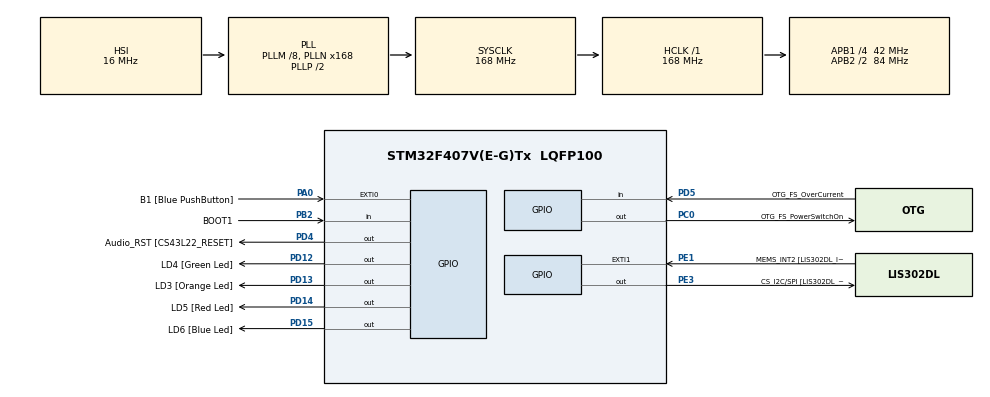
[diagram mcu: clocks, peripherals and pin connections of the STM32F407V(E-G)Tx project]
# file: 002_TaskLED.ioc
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Mcu.Family=STM32F4
Mcu.Name=STM32F407V(E-G)Tx
Mcu.Package=LQFP100
NVIC.PriorityGroup=NVIC_PRIORITYGROUP_4
NVIC.TIM6_DAC_IRQn=true\:0\:0\:false\:false\:true\:false\:true\:true
NVIC.TimeBase=TIM6_DAC_IRQn
NVIC.TimeBaseIP=TIM6
PA0-WKUP.GPIO_Label=B1 [Blue PushButton]
PA0-WKUP.Signal=GPXTI0
PA10.GPIO_Label=OTG_FS_ID
PA10.GPIO_Mode=GPIO_MODE_AF_PP
PA10.GPIO_PuPd=GPIO_NOPULL
PA10.GPIO_Speed=GPIO_SPEED_FREQ_LOW
PA10.Signal=USB_OTG_FS_ID
PA11.GPIO_Label=OTG_FS_DM
PA11.GPIO_Mode=GPIO_MODE_AF_PP
PA11.GPIO_PuPd=GPIO_NOPULL
PA11.GPIO_Speed=GPIO_SPEED_FREQ_LOW
PA11.Signal=USB_OTG_FS_DM
PA12.GPIO_Label=OTG_FS_DP
PA12.GPIO_Mode=GPIO_MODE_AF_PP
PA12.GPIO_PuPd=GPIO_NOPULL
PA12.GPIO_Speed=GPIO_SPEED_FREQ_LOW
PA12.Signal=USB_OTG_FS_DP
PA13.GPIO_Label=SWDIO
PA13.Mode=Serial_Wire
PA13.Signal=SYS_JTMS-SWDIO
PA14.GPIO_Label=SWCLK
PA14.Mode=Serial_Wire
PA14.Signal=SYS_JTCK-SWCLK
PA4.GPIO_Label=I2S3_WS [CS43L22_LRCK]
PA4.GPIO_Mode=GPIO_MODE_AF_PP
PA4.GPIO_PuPd=GPIO_NOPULL
PA4.GPIO_Speed=GPIO_SPEED_FREQ_LOW
PA4.Signal=I2S3_WS
PA5.GPIO_Label=SPI1_SCK [LIS302DL_SCL/SPC]
PA5.GPIO_Mode=GPIO_MODE_AF_PP
PA5.GPIO_PuPd=GPIO_NOPULL
PA5.GPIO_Speed=GPIO_SPEED_FREQ_LOW
PA5.Signal=SPI1_SCK
PA6.GPIO_Label=SPI1_MISO [LIS302DL_SDO]
PA6.GPIO_Mode=GPIO_MODE_AF_PP
PA6.GPIO_PuPd=GPIO_NOPULL
PA6.GPIO_Speed=GPIO_SPEED_FREQ_LOW
PA6.Signal=SPI1_MISO
PA7.GPIO_Label=SPI1_MOSI [LIS302DL_SDA/SDI/SDO]
PA7.GPIO_Mode=GPIO_MODE_AF_PP
PA7.GPIO_PuPd=GPIO_NOPULL
PA7.GPIO_Speed=GPIO_SPEED_FREQ_LOW
PA7.Signal=SPI1_MOSI
PA9.GPIO_Label=VBUS_FS
PA9.GPIO_Mode=GPIO_MODE_INPUT
PA9.GPIO_PuPd=GPIO_NOPULL
PA9.Signal=USB_OTG_FS_VBUS
PB10.GPIO_Label=CLK_IN [MP45DT02_CLK]
PB10.GPIO_Mode=GPIO_MODE_AF_PP
PB10.GPIO_PuPd=GPIO_NOPULL
PB10.GPIO_Speed=GPIO_SPEED_FREQ_LOW
PB10.Signal=I2S2_CK
PB2.GPIO_Label=BOOT1
PB2.GPIO_Mode=GPIO_MODE_INPUT
PB2.GPIO_PuPd=GPIO_NOPULL
PB2.Signal=GPIO_Input
PB3.GPIO_Label=SWO
PB3.Signal=SYS_JTDO-SWO
PB6.GPIO_Label=Audio_SCL [CS43L22_SCL]
PB6.GPIO_Mode=GPIO_MODE_AF_OD
PB6.GPIO_PuPd=GPIO_NOPULL
PB6.GPIO_Speed=GPIO_SPEED_FREQ_LOW
PB6.Signal=I2C1_SCL
PB9.GPIO_Label=Audio_SDA [CS43L22_SDA]
PB9.GPIO_Mode=GPIO_MODE_AF_OD
PB9.GPIO_PuPd=GPIO_NOPULL
PB9.GPIO_Speed=GPIO_SPEED_FREQ_LOW
PB9.Signal=I2C1_SDA
PC0.GPIO_Label=OTG_FS_PowerSwitchOn
PC0.GPIO_PuPd=GPIO_NOPULL
PC0.GPIO_Speed=GPIO_SPEED_FREQ_LOW
PC0.PinState=GPIO_PIN_SET
PC0.Signal=GPIO_Output
PC10.GPIO_Label=I2S3_SCK [CS43L22_SCLK]
PC10.GPIO_Mode=GPIO_MODE_AF_PP
PC10.GPIO_PuPd=GPIO_NOPULL
PC10.GPIO_Speed=GPIO_SPEED_FREQ_LOW
PC10.Signal=I2S3_CK
PC12.GPIO_Label=I2S3_SD [CS43L22_SDIN]
PC12.GPIO_Mode=GPIO_MODE_AF_PP
PC12.GPIO_PuPd=GPIO_NOPULL
PC12.GPIO_Speed=GPIO_SPEED_FREQ_LOW
PC12.Signal=I2S3_SD
PC14-OSC32_IN.GPIO_Label=PC14-OSC32_IN
PC14-OSC32_IN.Signal=RCC_OSC32_IN
PC15-OSC32_OUT.GPIO_Label=PC15-OSC32_OUT
PC15-OSC32_OUT.Signal=RCC_OSC32_OUT
PC3.GPIO_Label=PDM_OUT [MP45DT02_DOUT]
PC3.GPIO_Mode=GPIO_MODE_AF_PP
PC3.GPIO_PuPd=GPIO_NOPULL
PC3.GPIO_Speed=GPIO_SPEED_FREQ_LOW
PC3.Signal=I2S2_SD
PC7.GPIO_Label=I2S3_MCK [CS43L22_MCLK]
PC7.GPIO_Mode=GPIO_MODE_AF_PP
PC7.GPIO_PuPd=GPIO_NOPULL
PC7.GPIO_Speed=GPIO_SPEED_FREQ_LOW
PC7.Signal=I2S3_MCK
PD12.GPIO_Label=LD4 [Green Led]
PD12.GPIO_PuPd=GPIO_NOPULL
PD12.GPIO_Speed=GPIO_SPEED_FREQ_LOW
PD12.Signal=GPIO_Output
PD13.GPIO_Label=LD3 [Orange Led]
PD13.GPIO_PuPd=GPIO_NOPULL
PD13.GPIO_Speed=GPIO_SPEED_FREQ_LOW
PD13.Signal=GPIO_Output
PD14.GPIO_Label=LD5 [Red Led]
PD14.GPIO_PuPd=GPIO_NOPULL
PD14.GPIO_Speed=GPIO_SPEED_FREQ_LOW
PD14.Signal=GPIO_Output
PD15.GPIO_Label=LD6 [Blue Led]
PD15.GPIO_PuPd=GPIO_NOPULL
PD15.GPIO_Speed=GPIO_SPEED_FREQ_LOW
PD15.Signal=GPIO_Output
PD4.GPIO_Label=Audio_RST [CS43L22_RESET]
PD4.GPIO_PuPd=GPIO_NOPULL
PD4.GPIO_Speed=GPIO_SPEED_FREQ_LOW
PD4.Signal=GPIO_Output
PD5.GPIO_Label=OTG_FS_OverCurrent
PD5.GPIO_Mode=GPIO_MODE_INPUT
PD5.GPIO_PuPd=GPIO_NOPULL
PD5.Signal=GPIO_Input
PE1.GPIO_Label=MEMS_INT2 [LIS302DL_INT2]
PE1.GPIO_ModeDefaultEXTI=GPIO_MODE_EVT_RISING
PE1.GPIO_PuPd=GPIO_NOPULL
PE1.Signal=GPXTI1
PE3.GPIO_Label=CS_I2C/SPI [LIS302DL_CS_I2C/SPI]
PE3.GPIO_PuPd=GPIO_NOPULL
PE3.GPIO_Speed=GPIO_SPEED_FREQ_LOW
PE3.Signal=GPIO_Output
PH0-OSC_IN.GPIO_Label=PH0-OSC_IN
PH0-OSC_IN.Signal=RCC_OSC_IN
PH1-OSC_OUT.GPIO_Label=PH1-OSC_OUT
PH1-OSC_OUT.Signal=RCC_OSC_OUT
ProjectManager.HeapSize=0x200
ProjectManager.StackSize=0x400
ProjectManager.TargetToolchain=STM32CubeIDE
RCC.48MHZClocksFreq_Value=48000000
RCC.AHBFreq_Value=168000000
RCC.APB1CLKDivider=RCC_HCLK_DIV4
RCC.APB1Freq_Value=42000000
RCC.APB1TimFreq_Value=84000000
RCC.APB2CLKDivider=RCC_HCLK_DIV2
RCC.APB2Freq_Value=84000000
RCC.APB2TimFreq_Value=168000000
RCC.CortexFreq_Value=168000000
RCC.HCLKFreq_Value=168000000
RCC.HSE_VALUE=8000000
RCC.HSI_VALUE=16000000
RCC.LSE_VALUE=32768
RCC.PLLM=8
RCC.PLLN=168
RCC.PLLQ=7
RCC.SYSCLKFreq_VALUE=168000000
RCC.SYSCLKSource=RCC_SYSCLKSOURCE_PLLCLK
RCC.VCOOutputFreq_Value=336000000
VP_SYS_VS_tim6.Mode=TIM6
board=STM32F407G-DISC1

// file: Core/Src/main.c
/* USER CODE BEGIN Header */
/**
  ******************************************************************************
  * @file           : main.c
  * @brief          : Main program body
  ******************************************************************************
  * @attention
  *
  * <h2><center>&copy; Copyright (c) 2021 STMicroelectronics.
  * All rights reserved.</center></h2>
  *
  * This software component is licensed by ST under BSD 3-Clause license,
  * the "License"; You may not use this file except in compliance with the
  * License. You may obtain a copy of the License at:
  *                        opensource.org/licenses/BSD-3-Clause
  *
  ******************************************************************************
  */
/* USER CODE END Header */
#include "main.h"

/* USER CODE BEGIN Includes */

#include <stdio.h>
#include "FreeRTOS.h"
#include "task.h"

/* USER CODE END Includes */

/* USER CODE BEGIN PV */

#define DWT_CTRL    (*(volatile uint32_t*)0xE0001000)

/* USER CODE END PV */

void SystemClock_Config(void);
static void MX_GPIO_Init(void);
/* USER CODE BEGIN PFP */

static void led_green_handler(void* parameters);
static void led_orange_handler(void* parameters);
static void led_red_handler(void* parameters);

extern void SEGGER_UART_init(uint32_t);

/* USER CODE END PFP */

int main(void)
{
  /* USER CODE BEGIN 1 */
	TaskHandle_t task1_handle;
	TaskHandle_t task2_handle;
	TaskHandle_t task3_handle;
	BaseType_t status;

  /* USER CODE END 1 */

  /* MCU Configuration--------------------------------------------------------*/

  /* Reset of all peripherals, Initializes the Flash interface and the Systick. */
  HAL_Init();

  /* Configure the system clock */
  SystemClock_Config();

  /* Initialize all configured peripherals */
  MX_GPIO_Init();
  /* USER CODE BEGIN 2 */

  SEGGER_UART_init(500000);

  //CYCLCNT enable
  DWT_CTRL |= ( 1 << 0);

  SEGGER_SYSVIEW_Conf();

  status = xTaskCreate(led_green_handler, "LED_green_task", 200, NULL, 1, &task1_handle);

  configASSERT(status == pdPASS);

  status = xTaskCreate(led_red_handler, "LED_red_task", 200,NULL, 1, &task2_handle);

  configASSERT(status == pdPASS);

  status = xTaskCreate(led_orange_handler, "LED_orange_task", 200, NULL, 1, &task3_handle);

  configASSERT(status == pdPASS);

  //start the freeRTOS scheduler
  vTaskStartScheduler();

  /* USER CODE END 2 */

  /* Infinite loop */
  while (1)
  {

  }
}

void SystemClock_Config(void)
{
  RCC_OscInitTypeDef RCC_OscInitStruct = {0};
  RCC_ClkInitTypeDef RCC_ClkInitStruct = {0};

  /** Configure the main internal regulator output voltage
  */
  __HAL_RCC_PWR_CLK_ENABLE();
  __HAL_PWR_VOLTAGESCALING_CONFIG(PWR_REGULATOR_VOLTAGE_SCALE1);

  /** Initializes the RCC Oscillators according to the specified parameters
  * in the RCC_OscInitTypeDef structure.
  */
  RCC_OscInitStruct.OscillatorType = RCC_OSCILLATORTYPE_HSI;
  RCC_OscInitStruct.HSIState = RCC_HSI_ON;
  RCC_OscInitStruct.HSICalibrationValue = RCC_HSICALIBRATION_DEFAULT;
  RCC_OscInitStruct.PLL.PLLState = RCC_PLL_ON;
  RCC_OscInitStruct.PLL.PLLSource = RCC_PLLSOURCE_HSI;
  RCC_OscInitStruct.PLL.PLLM = 8;
  RCC_OscInitStruct.PLL.PLLN = 168;
  RCC_OscInitStruct.PLL.PLLP = RCC_PLLP_DIV2;
  RCC_OscInitStruct.PLL.PLLQ = 7;
  if (HAL_RCC_OscConfig(&RCC_OscInitStruct) != HAL_OK)
  {
    Error_Handler();
  }

  /** Initializes the CPU, AHB and APB buses clocks
  */
  RCC_ClkInitStruct.ClockType = RCC_CLOCKTYPE_HCLK|RCC_CLOCKTYPE_SYSCLK
                              |RCC_CLOCKTYPE_PCLK1|RCC_CLOCKTYPE_PCLK2;
  RCC_ClkInitStruct.SYSCLKSource = RCC_SYSCLKSOURCE_PLLCLK;
  RCC_ClkInitStruct.AHBCLKDivider = RCC_SYSCLK_DIV1;
  RCC_ClkInitStruct.APB1CLKDivider = RCC_HCLK_DIV4;
  RCC_ClkInitStruct.APB2CLKDivider = RCC_HCLK_DIV2;

  if (HAL_RCC_ClockConfig(&RCC_ClkInitStruct, FLASH_LATENCY_5) != HAL_OK)
  {
    Error_Handler();
  }
}

static void MX_GPIO_Init(void)
{
  GPIO_InitTypeDef GPIO_InitStruct = {0};

  /* GPIO Ports Clock Enable */
  __HAL_RCC_GPIOE_CLK_ENABLE();
  __HAL_RCC_GPIOC_CLK_ENABLE();
  __HAL_RCC_GPIOH_CLK_ENABLE();
  __HAL_RCC_GPIOA_CLK_ENABLE();
  __HAL_RCC_GPIOB_CLK_ENABLE();
  __HAL_RCC_GPIOD_CLK_ENABLE();

  /*Configure GPIO pin Output Level */
  HAL_GPIO_WritePin(CS_I2C_SPI_GPIO_Port, CS_I2C_SPI_Pin, GPIO_PIN_RESET);

  /*Configure GPIO pin Output Level */
  HAL_GPIO_WritePin(OTG_FS_PowerSwitchOn_GPIO_Port, OTG_FS_PowerSwitchOn_Pin, GPIO_PIN_SET);

  /*Configure GPIO pin Output Level */
  HAL_GPIO_WritePin(GPIOD, LD4_Pin|LD3_Pin|LD5_Pin|LD6_Pin
                          |Audio_RST_Pin, GPIO_PIN_RESET);

  /*Configure GPIO pin : CS_I2C_SPI_Pin */
  GPIO_InitStruct.Pin = CS_I2C_SPI_Pin;
  GPIO_InitStruct.Mode = GPIO_MODE_OUTPUT_PP;
  GPIO_InitStruct.Pull = GPIO_NOPULL;
  GPIO_InitStruct.Speed = GPIO_SPEED_FREQ_LOW;
  HAL_GPIO_Init(CS_I2C_SPI_GPIO_Port, &GPIO_InitStruct);

  /*Configure GPIO pin : OTG_FS_PowerSwitchOn_Pin */
  GPIO_InitStruct.Pin = OTG_FS_PowerSwitchOn_Pin;
  GPIO_InitStruct.Mode = GPIO_MODE_OUTPUT_PP;
  GPIO_InitStruct.Pull = GPIO_NOPULL;
  GPIO_InitStruct.Speed = GPIO_SPEED_FREQ_LOW;
  HAL_GPIO_Init(OTG_FS_PowerSwitchOn_GPIO_Port, &GPIO_InitStruct);

  /*Configure GPIO pin : PDM_OUT_Pin */
  GPIO_InitStruct.Pin = PDM_OUT_Pin;
  GPIO_InitStruct.Mode = GPIO_MODE_AF_PP;
  GPIO_InitStruct.Pull = GPIO_NOPULL;
  GPIO_InitStruct.Speed = GPIO_SPEED_FREQ_LOW;
  GPIO_InitStruct.Alternate = GPIO_AF5_SPI2;
  HAL_GPIO_Init(PDM_OUT_GPIO_Port, &GPIO_InitStruct);

  /*Configure GPIO pin : B1_Pin */
  GPIO_InitStruct.Pin = B1_Pin;
  GPIO_InitStruct.Mode = GPIO_MODE_IT_RISING;
  GPIO_InitStruct.Pull = GPIO_NOPULL;
  HAL_GPIO_Init(B1_GPIO_Port, &GPIO_InitStruct);

  /*Configure GPIO pin : I2S3_WS_Pin */
  GPIO_InitStruct.Pin = I2S3_WS_Pin;
  GPIO_InitStruct.Mode = GPIO_MODE_AF_PP;
  GPIO_InitStruct.Pull = GPIO_NOPULL;
  GPIO_InitStruct.Speed = GPIO_SPEED_FREQ_LOW;
  GPIO_InitStruct.Alternate = GPIO_AF6_SPI3;
  HAL_GPIO_Init(I2S3_WS_GPIO_Port, &GPIO_InitStruct);

  /*Configure GPIO pins : SPI1_SCK_Pin SPI1_MISO_Pin SPI1_MOSI_Pin */
  GPIO_InitStruct.Pin = SPI1_SCK_Pin|SPI1_MISO_Pin|SPI1_MOSI_Pin;
  GPIO_InitStruct.Mode = GPIO_MODE_AF_PP;
  GPIO_InitStruct.Pull = GPIO_NOPULL;
  GPIO_InitStruct.Speed = GPIO_SPEED_FREQ_LOW;
  GPIO_InitStruct.Alternate = GPIO_AF5_SPI1;
  HAL_GPIO_Init(GPIOA, &GPIO_InitStruct);

  /*Configure GPIO pin : BOOT1_Pin */
  GPIO_InitStruct.Pin = BOOT1_Pin;
  GPIO_InitStruct.Mode = GPIO_MODE_INPUT;
  GPIO_InitStruct.Pull = GPIO_NOPULL;
  HAL_GPIO_Init(BOOT1_GPIO_Port, &GPIO_InitStruct);

  /*Configure GPIO pin : CLK_IN_Pin */
  GPIO_InitStruct.Pin = CLK_IN_Pin;
  GPIO_InitStruct.Mode = GPIO_MODE_AF_PP;
  GPIO_InitStruct.Pull = GPIO_NOPULL;
  GPIO_InitStruct.Speed = GPIO_SPEED_FREQ_LOW;
  GPIO_InitStruct.Alternate = GPIO_AF5_SPI2;
  HAL_GPIO_Init(CLK_IN_GPIO_Port, &GPIO_InitStruct);

  /*Configure GPIO pins : LD4_Pin LD3_Pin LD5_Pin LD6_Pin
                           Audio_RST_Pin */
  GPIO_InitStruct.Pin = LD4_Pin|LD3_Pin|LD5_Pin|LD6_Pin
                          |Audio_RST_Pin;
  GPIO_InitStruct.Mode = GPIO_MODE_OUTPUT_PP;
  GPIO_InitStruct.Pull = GPIO_NOPULL;
  GPIO_InitStruct.Speed = GPIO_SPEED_FREQ_LOW;
  HAL_GPIO_Init(GPIOD, &GPIO_InitStruct);

  /*Configure GPIO pins : I2S3_MCK_Pin I2S3_SCK_Pin I2S3_SD_Pin */
  GPIO_InitStruct.Pin = I2S3_MCK_Pin|I2S3_SCK_Pin|I2S3_SD_Pin;
  GPIO_InitStruct.Mode = GPIO_MODE_AF_PP;
  GPIO_InitStruct.Pull = GPIO_NOPULL;
  GPIO_InitStruct.Speed = GPIO_SPEED_FREQ_LOW;
  GPIO_InitStruct.Alternate = GPIO_AF6_SPI3;
  HAL_GPIO_Init(GPIOC, &GPIO_InitStruct);

  /*Configure GPIO pin : VBUS_FS_Pin */
  GPIO_InitStruct.Pin = VBUS_FS_Pin;
  GPIO_InitStruct.Mode = GPIO_MODE_INPUT;
  GPIO_InitStruct.Pull = GPIO_NOPULL;
  HAL_GPIO_Init(VBUS_FS_GPIO_Port, &GPIO_InitStruct);

  /*Configure GPIO pins : OTG_FS_ID_Pin OTG_FS_DM_Pin OTG_FS_DP_Pin */
  GPIO_InitStruct.Pin = OTG_FS_ID_Pin|OTG_FS_DM_Pin|OTG_FS_DP_Pin;
  GPIO_InitStruct.Mode = GPIO_MODE_AF_PP;
  GPIO_InitStruct.Pull = GPIO_NOPULL;
  GPIO_InitStruct.Speed = GPIO_SPEED_FREQ_LOW;
  GPIO_InitStruct.Alternate = GPIO_AF10_OTG_FS;
  HAL_GPIO_Init(GPIOA, &GPIO_InitStruct);

  /*Configure GPIO pin : OTG_FS_OverCurrent_Pin */
  GPIO_InitStruct.Pin = OTG_FS_OverCurrent_Pin;
  GPIO_InitStruct.Mode = GPIO_MODE_INPUT;
  GPIO_InitStruct.Pull = GPIO_NOPULL;
  HAL_GPIO_Init(OTG_FS_OverCurrent_GPIO_Port, &GPIO_InitStruct);

  /*Configure GPIO pins : Audio_SCL_Pin Audio_SDA_Pin */
  GPIO_InitStruct.Pin = Audio_SCL_Pin|Audio_SDA_Pin;
  GPIO_InitStruct.Mode = GPIO_MODE_AF_OD;
  GPIO_InitStruct.Pull = GPIO_NOPULL;
  GPIO_InitStruct.Speed = GPIO_SPEED_FREQ_LOW;
  GPIO_InitStruct.Alternate = GPIO_AF4_I2C1;
  HAL_GPIO_Init(GPIOB, &GPIO_InitStruct);

  /*Configure GPIO pin : MEMS_INT2_Pin */
  GPIO_InitStruct.Pin = MEMS_INT2_Pin;
  GPIO_InitStruct.Mode = GPIO_MODE_EVT_RISING;
  GPIO_InitStruct.Pull = GPIO_NOPULL;
  HAL_GPIO_Init(MEMS_INT2_GPIO_Port, &GPIO_InitStruct);

}

/* USER CODE BEGIN 4 */

static void led_green_handler(void* parameters)
{

	while(1)
	{
		SEGGER_SYSVIEW_PrintfTarget("Toggling green LED");
		HAL_GPIO_TogglePin(GPIOD, GPIO_PIN_12);
		printf("Hello from Task-1 \r\n");
		HAL_Delay(1000);
	}

}

static void led_orange_handler(void* parameters)
{
	while(1)
	{
		SEGGER_SYSVIEW_PrintfTarget("Toggling orange LED");
		HAL_GPIO_TogglePin(GPIOD, GPIO_PIN_13);
		printf("Hello from Task-2 \r\n");
		HAL_Delay(800);
	}

}

static void led_red_handler(void* parameters)
{
	while(1)
	{
		SEGGER_SYSVIEW_PrintfTarget("Toggling red LED");
		HAL_GPIO_TogglePin(GPIOD, GPIO_PIN_15);
		printf("Hello from Task-3 \r\n");
		HAL_Delay(400);
	}

}

/* USER CODE END 4 */

void HAL_TIM_PeriodElapsedCallback(TIM_HandleTypeDef *htim)
{
  if (htim->Instance == TIM6) {
    HAL_IncTick();
  }
}

void Error_Handler(void)
{
}
